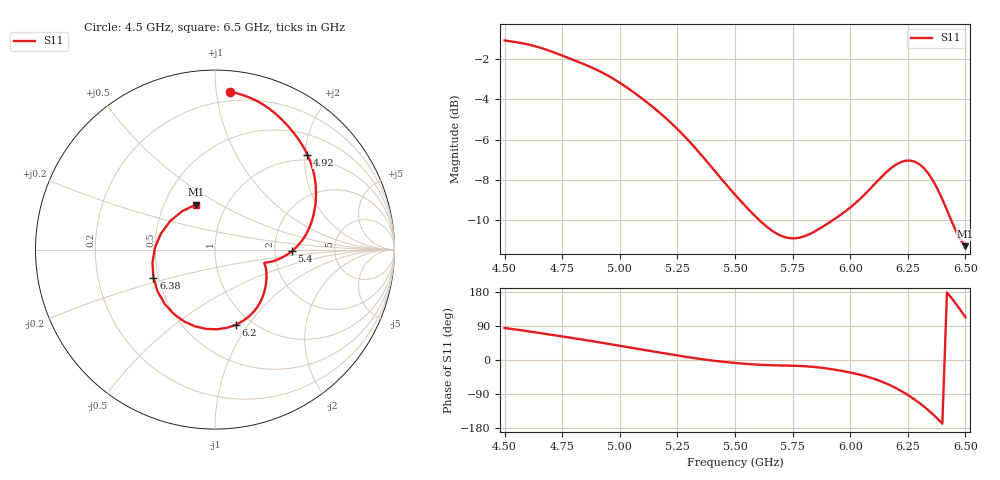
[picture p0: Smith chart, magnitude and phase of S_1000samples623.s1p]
! TOUCHSTONE file generated by CST MICROWAVE STUDIO
! Date and time: Fri Oct 28 19:32:27 2022
! Project name: L.cst
! Parameters = {Di=1.27; Epsilon_r=1.56; InnerDiameter=1.27; Length=2; Lf=10; Lg=60; OuterConductorThickness=0.2921; OuterDiameter=3.6; Wf=3; Wp=41.2; de=1.5; df=6.8; g=0.8; gx=0.851814; gy=3.71724; h=2.34; hf=1.524; px=10.5656; py=10.0271; w=9.7; wx=9.71374; wy=6.30983}
! Header version: 2018
! Port assignment regex: !\s*Touchstone port\s*([0-9]+)\s*=\s*(CST MWS port|CST DS port)\s*([0-9]+|Zmin|Zmax)\s*\(\"(.*)\"\)(\s*mode\s*([0-9]+))?.*
! Touchstone port assignment:
! Touchstone port 1 = CST MWS port 1 ("")
# GHz S DB R 50
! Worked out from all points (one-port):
!   101 points, 4.5 GHz to 6.5 GHz, reference 50 ohm
!   lowest |S11| = -11.3 dB at 6.5 GHz (marker M1), VSWR 1.75, Z = 36 + j19.5 ohm
!   |S11| at or under -10 dB: 5.605 GHz to 5.926 GHz (320.5 MHz wide, 5.56 % of centre); 6.438 GHz to end of sweep
!   S11 on the Smith chart (normalised r, x): 4.5 GHz: 0.13, +1.09; 4.92 GHz: 0.89, +2.05; 5.4 GHz: 2.49, -0.06; 6.2 GHz: 0.85, -0.87; 6.38 GHz: 0.47, -0.17; 6.5 GHz: 0.72, +0.39
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4.5  -1.06 84.4
4.62  -1.31 74.1
4.76  -1.86 61.2
4.92  -2.64 45.7
5  -3.17 37.5
5.12  -4.16 25.2
5.26  -5.59 11.1
5.4  -7.39 -1.3
5.5  -8.74 -7.8
5.66  -10.52 -13.9
5.76  -10.91 -15.3
5.88  -10.34 -20.9
6  -9.38 -33.1
6.06  -8.76 -41.7
6.12  -8.04 -53.1
6.16  -7.59 -62.9
6.2  -7.23 -74.7
6.24  -7.05 -88.5
6.26  -7.04 -96.2
6.3  -7.22 -113.3
6.32  -7.42 -122.8
6.36  -8.05 -143.8
6.38  -8.48 -155.5
6.4  -8.97 -168.1
6.42  -9.50 178.2
6.44  -10.05 163.4
6.48  -11.01 130.5
6.5  -11.30 112.8
